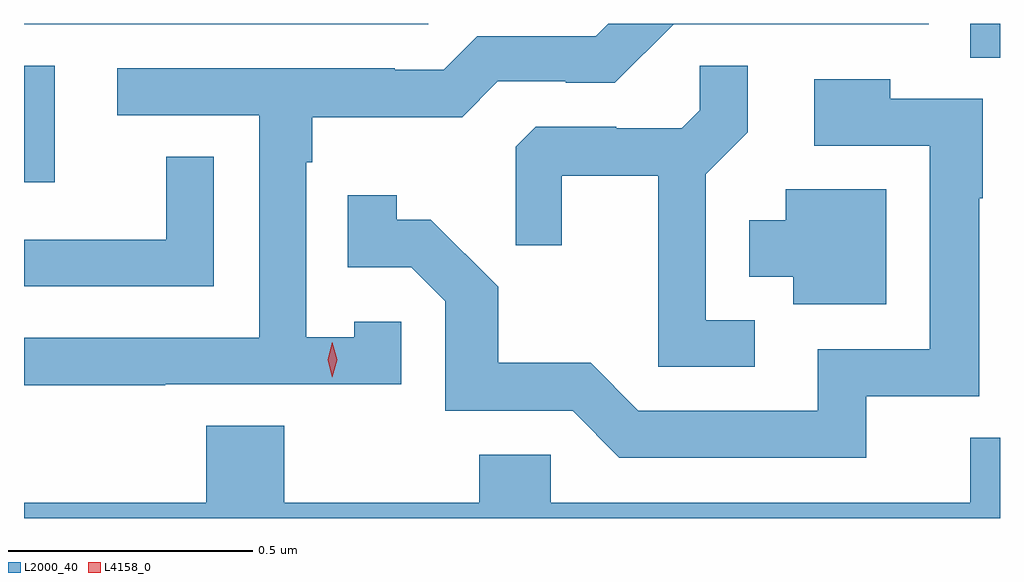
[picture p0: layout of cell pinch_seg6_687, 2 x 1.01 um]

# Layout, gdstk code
import gdstk
lib = gdstk.Library(unit=1e-6, precision=1e-09)
def R(c, l, rs):  # rectangles x0, y0, x1, y1
    for r in rs: c.add(gdstk.rectangle(r[:2], r[2:], *l))
def P(c, l, *ps):  # polygons
    for p in ps: c.add(gdstk.Polygon(p, *l))
L2000_40 = (2000, 40)
L4158_0 = (4158, 0)

pinch_seg6_687 = lib.new_cell('pinch_seg6_687')
R(pinch_seg6_687, L2000_40, [(444.148,916.188,444.211,916.427), (446.087,916.444,446.148,916.513), (444.148,916.512,444.976,916.513)])
P(pinch_seg6_687, L2000_40, [(444.437,915.774),(444.921,915.774),(444.921,915.903),(444.825,915.903),(444.825,915.871),(444.726,915.871),(444.726,916.229),(444.739,916.229),(444.739,916.322),(445.046,916.322),(445.119,916.395),(445.258,916.395),(445.258,916.392),(445.359,916.392),(445.479,916.512),(446.002,916.512),(446.002,916.513),(445.345,916.513),(445.32,916.488),(445.077,916.488),(445.008,916.419),(444.908,916.419),(444.908,916.422),(444.339,916.422),(444.339,916.326),(444.63,916.326),(444.63,915.87),(444.148,915.87),(444.148,915.772),(444.437,915.772)],
  [(445.645,915.906),(445.545,915.906),(445.545,916.205),(445.631,916.291),(445.631,916.427),(445.533,916.427),(445.533,916.336),(445.496,916.299),(445.362,916.299),(445.362,916.302),(445.197,916.302),(445.156,916.261),(445.156,916.059),(445.25,916.059),(445.25,916.202),(445.448,916.202),(445.448,915.81),(445.645,915.81)],
  [(445.874,915.75),(446.105,915.75),(446.105,916.156),(446.113,916.156),(446.113,916.359),(445.923,916.359),(445.923,916.399),(445.767,916.399),(445.767,916.263),(446.004,916.263),(446.004,915.846),(445.775,915.846),(445.775,915.72),(445.407,915.72),(445.309,915.819),(445.12,915.819),(445.12,915.974),(444.982,916.112),(444.912,916.112),(444.912,916.162),(444.811,916.162),(444.811,916.014),(444.942,916.014),(445.011,915.945),(445.011,915.72),(445.272,915.72),(445.368,915.624),(445.874,915.624)],
  [(444.537,916.241),(444.439,916.241),(444.439,916.071),(444.148,916.071),(444.148,915.975),(444.537,915.975)],
  [(445.915,916.174),(445.709,916.174),(445.709,916.111),(445.634,916.111),(445.634,915.995),(445.724,915.995),(445.724,915.938),(445.915,915.938)],
  [(446.148,915.665),(446.087,915.665),(446.087,915.532),(445.227,915.532),(445.227,915.63),(445.081,915.63),(445.081,915.532),(444.681,915.532),(444.681,915.689),(444.521,915.689),(444.521,915.532),(444.148,915.532),(444.148,915.5),(446.148,915.5)])
P(pinch_seg6_687, L4158_0, [(444.78,915.789),(444.78,915.789),(444.77,915.825),(444.78,915.861),(444.78,915.861),(444.78,915.861),(444.79,915.825),(444.78,915.789)])

lib.write_gds('pinch_seg6_687.gds')
